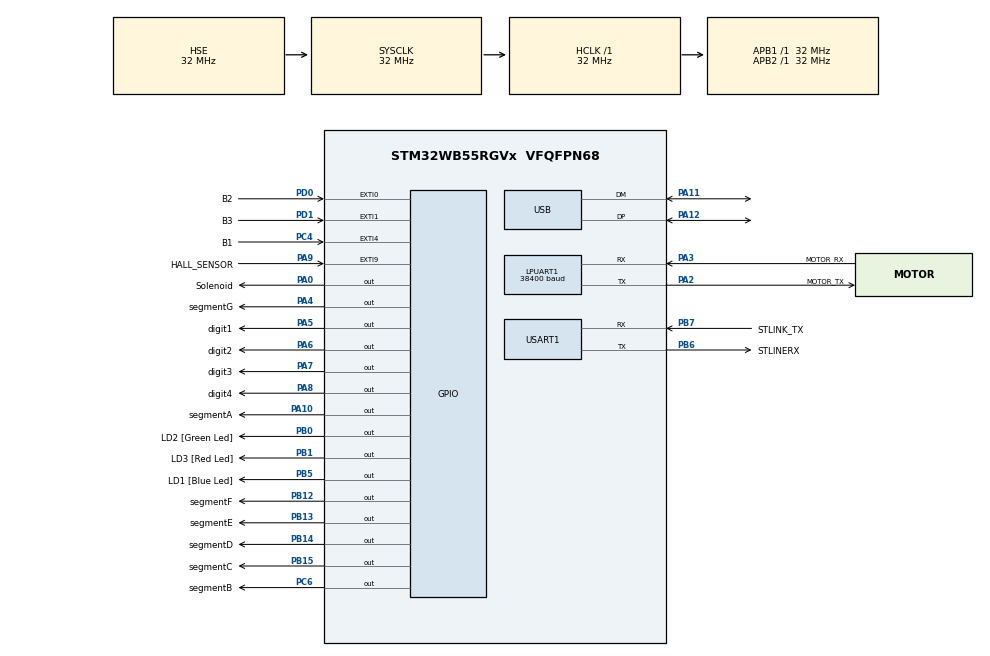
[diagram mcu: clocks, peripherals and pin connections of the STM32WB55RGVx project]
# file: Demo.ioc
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LPUART1.BaudRate=38400
Mcu.Family=STM32WB
Mcu.Name=STM32WB55RGVx
Mcu.Package=VFQFPN68
NVIC.EXTI0_IRQn=true\:2\:0\:true\:false\:true\:true\:true\:true
NVIC.EXTI1_IRQn=true\:2\:0\:true\:false\:true\:true\:true\:true
NVIC.EXTI4_IRQn=true\:2\:0\:true\:false\:true\:true\:true\:true
NVIC.EXTI9_5_IRQn=true\:1\:0\:true\:false\:true\:true\:true\:true
NVIC.PriorityGroup=NVIC_PRIORITYGROUP_4
OSC_IN.Mode=HSE-External-Oscillator
OSC_IN.Signal=RCC_OSC_IN
OSC_OUT.Mode=HSE-External-Oscillator
OSC_OUT.Signal=RCC_OSC_OUT
PA0.GPIO_Label=Solenoid
PA0.GPIO_PuPd=GPIO_PULLUP
PA0.Signal=GPIO_Output
PA10.GPIO_Label=segmentA
PA10.PinState=GPIO_PIN_SET
PA10.Signal=GPIO_Output
PA11.Mode=Device
PA11.Signal=USB_DM
PA12.Mode=Device
PA12.Signal=USB_DP
PA13.GPIO_Label=JTMS
PA13.Mode=Trace_Asynchronous_SW
PA13.Signal=SYS_JTMS-SWDIO
PA14.GPIO_Label=JTCK
PA14.Mode=Trace_Asynchronous_SW
PA14.Signal=SYS_JTCK-SWCLK
PA2.GPIO_Label=MOTOR_TX
PA2.GPIO_PuPd=GPIO_PULLUP
PA2.Mode=Asynchronous
PA2.Signal=LPUART1_TX
PA3.GPIO_Label=MOTOR_RX
PA3.GPIO_PuPd=GPIO_PULLUP
PA3.Mode=Asynchronous
PA3.Signal=LPUART1_RX
PA4.GPIO_Label=segmentG
PA4.PinState=GPIO_PIN_SET
PA4.Signal=GPIO_Output
PA5.GPIO_Label=digit1
PA5.Signal=GPIO_Output
PA6.GPIO_Label=digit2
PA6.PinState=GPIO_PIN_RESET
PA6.Signal=GPIO_Output
PA7.GPIO_Label=digit3
PA7.PinState=GPIO_PIN_RESET
PA7.Signal=GPIO_Output
PA8.GPIO_Label=digit4
PA8.Signal=GPIO_Output
PA9.GPIO_Label=HALL_SENSOR
PA9.GPIO_PuPd=GPIO_PULLUP
PA9.Signal=GPXTI9
PB0.GPIO_Label=LD2 [Green Led]
PB0.Signal=GPIO_Output
PB1.GPIO_Label=LD3 [Red Led]
PB1.Signal=GPIO_Output
PB12.GPIO_Label=segmentF
PB12.PinState=GPIO_PIN_SET
PB12.Signal=GPIO_Output
PB13.GPIO_Label=segmentE
PB13.PinState=GPIO_PIN_SET
PB13.Signal=GPIO_Output
PB14.GPIO_Label=segmentD
PB14.PinState=GPIO_PIN_SET
PB14.Signal=GPIO_Output
PB15.GPIO_Label=segmentC
PB15.PinState=GPIO_PIN_SET
PB15.Signal=GPIO_Output
PB3.GPIO_Label=JTDO
PB3.Mode=Trace_Asynchronous_SW
PB3.Signal=SYS_JTDO-SWO
PB5.GPIO_Label=LD1 [Blue Led]
PB5.Signal=GPIO_Output
PB6.GPIO_Label=STLINERX
PB6.GPIO_PuPd=GPIO_PULLUP
PB6.Mode=Asynchronous
PB6.Signal=USART1_TX
PB7.GPIO_Label=STLINK_TX
PB7.GPIO_PuPd=GPIO_PULLUP
PB7.Mode=Asynchronous
PB7.Signal=USART1_RX
PC13.Mode=SYS_WakeUp1
PC13.Signal=SYS_WKUP2
PC14-OSC32_IN.Mode=LSE-External-Oscillator
PC14-OSC32_IN.Signal=RCC_OSC32_IN
PC15-OSC32_OUT.Mode=LSE-External-Oscillator
PC15-OSC32_OUT.Signal=RCC_OSC32_OUT
PC4.GPIO_Label=B1
PC4.GPIO_PuPd=GPIO_PULLUP
PC4.Signal=GPXTI4
PC6.GPIO_Label=segmentB
PC6.PinState=GPIO_PIN_SET
PC6.Signal=GPIO_Output
PD0.GPIO_Label=B2
PD0.GPIO_PuPd=GPIO_PULLUP
PD0.Signal=GPXTI0
PD1.GPIO_Label=B3
PD1.GPIO_PuPd=GPIO_PULLUP
PD1.Signal=GPXTI1
ProjectManager.HeapSize=0x400
ProjectManager.StackSize=0x800
ProjectManager.TargetToolchain=STM32CubeIDE
RCC.ADCFreq_Value=48000000
RCC.AHBFreq_Value=32000000
RCC.APB1Freq_Value=32000000
RCC.APB1TimFreq_Value=32000000
RCC.APB2Freq_Value=32000000
RCC.APB2TimFreq_Value=32000000
RCC.APB3Freq_Value=16000000
RCC.CortexFreq_Value=32000000
RCC.HCLKFreq_Value=32000000
RCC.HSE_VALUE=32000000
RCC.HSI48_VALUE=48000000
RCC.HSI_VALUE=16000000
RCC.LSE_Drive_Capability=RCC_LSEDRIVE_LOW
RCC.PLLN=32
RCC.PLLSAI1N=24
RCC.SMPSCLockSelectionVirtual=RCC_SMPSCLKSOURCE_HSI
RCC.SMPSCLockSelectionVirtualVirtual=RCC_SMPSCLKSOURCE_HSI
RCC.SMPSDivider=1
RCC.SYSCLKFreq_VALUE=32000000
RCC.SYSCLKSource=RCC_SYSCLKSOURCE_HSE
RCC.USBFreq_Value=48000000
RCC.VCOOutputFreq_Value=128000000
USART1.VirtualMode-Asynchronous=VM_ASYNC
USART1.WordLength=WORDLENGTH_7B
VP_MEMORYMAP_VS_MEMORYMAP.Mode=CurAppReg
board=NUCLEO-WB55RG

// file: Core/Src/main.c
/* USER CODE BEGIN Header */
/**
  ******************************************************************************
  * @file           : main.c
  * @brief          : Main program body
  ******************************************************************************
  * @attention
  *
  * Copyright (c) 2024 STMicroelectronics.
  * All rights reserved.
  *
  * This software is licensed under terms that can be found in the LICENSE file
  * in the root directory of this software component.
  * If no LICENSE file comes with this software, it is provided AS-IS.
  *
  ******************************************************************************
  */
/* USER CODE END Header */
#include "main.h"

/* USER CODE BEGIN Includes */
#include "communication_utilities.h"
#include "utilities.h"
#include "state_commands.h"
#include "sevseg_display.h"
#include "solenoid.h"
/* USER CODE END Includes */

/* USER CODE BEGIN PD */
#define ARM_SPEED 250
#define ANAHEIM 0
/* USER CODE END PD */

UART_HandleTypeDef hlpuart1;
UART_HandleTypeDef huart1;

PCD_HandleTypeDef hpcd_USB_FS;

/* USER CODE BEGIN PV */
uint32_t state;
uint32_t state_changed;

uint32_t current_rpm = 0;
uint32_t hs_prev_tick = 0;

uint8_t ready_to_launch = 0;
uint8_t launched = 0;

/* USER CODE END PV */

void SystemClock_Config(void);
void PeriphCommonClock_Config(void);
static void MX_GPIO_Init(void);
static void MX_LPUART1_UART_Init(void);
static void MX_USART1_UART_Init(void);
static void MX_USB_PCD_Init(void);

int main(void)
{

  /* MCU Configuration--------------------------------------------------------*/

  /* Reset of all peripherals, Initializes the Flash interface and the Systick. */
  HAL_Init();

  /* Configure the system clock */
  SystemClock_Config();

/* Configure the peripherals common clocks */
  PeriphCommonClock_Config();

  /* Initialize all configured peripherals */
  MX_GPIO_Init();
  MX_LPUART1_UART_Init();
  MX_USART1_UART_Init();
  MX_USB_PCD_Init();
  /* USER CODE BEGIN 2 */
  state = 0;
  state_changed = 1;
  SevenSegment_Off();
  /* USER CODE END 2 */

  /* Infinite loop */
  /* USER CODE BEGIN WHILE */
  while (1)
  {
	  SevenSegment_UpdateAllDigits(current_rpm);

	  if (state == 0){

		  //nothing running, waiting for input
		  // NEW MOTOR: running big motor up until satisfied by pressing button
		  if (state_changed == 1)
		  {
			  state_changed = 0;
		  }

		  Blue_On();
		  Green_Off();
		  Red_Off();
	  }
	  else if (state == 1){
		  //start motor spinning
		  // NEW MOTOR: ready to launch, waiting for right position
		  if (state_changed == 1)
		  {
#if (ANAHEIM == 1)
				  Arm_Spin_State(ARM_SPEED);
#endif

			ready_to_launch = 1;
			state_changed = 0;
		  }

#if (ANAHEIM == 1)
		  if (Arm_Done_Spinning(ARM_SPEED) == 1)
		  {
			  state = 2;
			  state_changed = 1;
		  }
#else
		  if (launched == 1)
		  {
			  state = 2;
			  state_changed = 1;
		  }
#endif

		  Blue_Off();
		  Green_Off();
		  Red_On();
		  //HAL_Delay(100);
	  }
	  else if (state == 2){
		  //motor is up to speed
		  // NEW MOTOR: after launching, slowing down motor
		  if (state_changed == 1)
		  {
			  state_changed = 0;
		  }
#if (ANAHEIM == 0)
		  if (current_rpm < 5){
			  state = 3;
			  state_changed = 4;
		  }
#endif

		  Blue_Off();
		  Green_On();
		  Red_Off();
	  }
	  else if (state == 3){
		  //ready to launch, waiting for right position
		  // NEW MOTOR: motor stopped, disc launched, press button to restart
		  if (state_changed == 1)
		  {
			  state_changed = 0;
		  }

#if (ANAHEIM == 1)
		  if (Arm_Launched_In_Position(ARM_SPEED) == 1)
		  {
			  state = 4;
			  state_changed = 1;
		  }
#endif

		  Blue_Off();
		  Green_On();
		  Red_On();
	  }
	  else if (state == 4){
		  //after launching, slow motor
		  if (state_changed == 1)
		  {
			  Hard_Brake();
			  //Coast();
			  state_changed = 0;
		  }

		  if (Arm_Stopped() == 1)
		  {
			  state = 5;
			  state_changed = 1;
		  }

		  Blue_On();
		  Green_Off();
		  Red_Off();
	  }
	  else if (state == 5){
		  //motor stopped, disc launched
		  if (state_changed == 1)
		  {
			  state_changed = 0;
		  }

		  Blue_On();
		  Green_Off();
		  Red_On();
	  }
	  else if (state == 6){
		  // manually launch disc
		  if (state_changed == 1)
		  {
			  Launch_Disc_State(ARM_SPEED);
			  state = 4;
			  state_changed = 1;
			  //state_changed = 0;
		  }

		  Blue_On();
		  Green_On();
		  Red_Off();
	  }
	  else{
		  state = 0;
	  }
    /* USER CODE END WHILE */

  }
}

void SystemClock_Config(void)
{
  RCC_OscInitTypeDef RCC_OscInitStruct = {0};
  RCC_ClkInitTypeDef RCC_ClkInitStruct = {0};

  /** Macro to configure the PLL multiplication factor
  */
  __HAL_RCC_PLL_PLLM_CONFIG(RCC_PLLM_DIV1);

  /** Macro to configure the PLL clock source
  */
  __HAL_RCC_PLL_PLLSOURCE_CONFIG(RCC_PLLSOURCE_MSI);

  /** Configure LSE Drive Capability
  */
  HAL_PWR_EnableBkUpAccess();
  __HAL_RCC_LSEDRIVE_CONFIG(RCC_LSEDRIVE_LOW);

  /** Configure the main internal regulator output voltage
  */
  __HAL_PWR_VOLTAGESCALING_CONFIG(PWR_REGULATOR_VOLTAGE_SCALE1);

  /** Initializes the RCC Oscillators according to the specified parameters
  * in the RCC_OscInitTypeDef structure.
  */
  RCC_OscInitStruct.OscillatorType = RCC_OSCILLATORTYPE_HSI|RCC_OSCILLATORTYPE_HSE
                              |RCC_OSCILLATORTYPE_LSE|RCC_OSCILLATORTYPE_MSI;
  RCC_OscInitStruct.HSEState = RCC_HSE_ON;
  RCC_OscInitStruct.LSEState = RCC_LSE_ON;
  RCC_OscInitStruct.HSIState = RCC_HSI_ON;
  RCC_OscInitStruct.MSIState = RCC_MSI_ON;
  RCC_OscInitStruct.HSICalibrationValue = RCC_HSICALIBRATION_DEFAULT;
  RCC_OscInitStruct.MSICalibrationValue = RCC_MSICALIBRATION_DEFAULT;
  RCC_OscInitStruct.MSIClockRange = RCC_MSIRANGE_6;
  RCC_OscInitStruct.PLL.PLLState = RCC_PLL_NONE;
  if (HAL_RCC_OscConfig(&RCC_OscInitStruct) != HAL_OK)
  {
    Error_Handler();
  }

  /** Configure the SYSCLKSource, HCLK, PCLK1 and PCLK2 clocks dividers
  */
  RCC_ClkInitStruct.ClockType = RCC_CLOCKTYPE_HCLK4|RCC_CLOCKTYPE_HCLK2
                              |RCC_CLOCKTYPE_HCLK|RCC_CLOCKTYPE_SYSCLK
                              |RCC_CLOCKTYPE_PCLK1|RCC_CLOCKTYPE_PCLK2;
  RCC_ClkInitStruct.SYSCLKSource = RCC_SYSCLKSOURCE_HSE;
  RCC_ClkInitStruct.AHBCLKDivider = RCC_SYSCLK_DIV1;
  RCC_ClkInitStruct.APB1CLKDivider = RCC_HCLK_DIV1;
  RCC_ClkInitStruct.APB2CLKDivider = RCC_HCLK_DIV1;
  RCC_ClkInitStruct.AHBCLK2Divider = RCC_SYSCLK_DIV1;
  RCC_ClkInitStruct.AHBCLK4Divider = RCC_SYSCLK_DIV1;

  if (HAL_RCC_ClockConfig(&RCC_ClkInitStruct, FLASH_LATENCY_1) != HAL_OK)
  {
    Error_Handler();
  }

  /** Enable MSI Auto calibration
  */
  HAL_RCCEx_EnableMSIPLLMode();
}

void PeriphCommonClock_Config(void)
{
  RCC_PeriphCLKInitTypeDef PeriphClkInitStruct = {0};

  /** Initializes the peripherals clock
  */
  PeriphClkInitStruct.PeriphClockSelection = RCC_PERIPHCLK_SMPS;
  PeriphClkInitStruct.SmpsClockSelection = RCC_SMPSCLKSOURCE_HSI;
  PeriphClkInitStruct.SmpsDivSelection = RCC_SMPSCLKDIV_RANGE0;

  if (HAL_RCCEx_PeriphCLKConfig(&PeriphClkInitStruct) != HAL_OK)
  {
    Error_Handler();
  }
}

static void MX_LPUART1_UART_Init(void)
{

  hlpuart1.Instance = LPUART1;
  hlpuart1.Init.BaudRate = 38400;
  hlpuart1.Init.WordLength = UART_WORDLENGTH_8B;
  hlpuart1.Init.StopBits = UART_STOPBITS_1;
  hlpuart1.Init.Parity = UART_PARITY_NONE;
  hlpuart1.Init.Mode = UART_MODE_TX_RX;
  hlpuart1.Init.HwFlowCtl = UART_HWCONTROL_NONE;
  hlpuart1.Init.OneBitSampling = UART_ONE_BIT_SAMPLE_DISABLE;
  hlpuart1.Init.ClockPrescaler = UART_PRESCALER_DIV1;
  hlpuart1.AdvancedInit.AdvFeatureInit = UART_ADVFEATURE_NO_INIT;
  hlpuart1.FifoMode = UART_FIFOMODE_DISABLE;
  if (HAL_UART_Init(&hlpuart1) != HAL_OK)
  {
    Error_Handler();
  }
  if (HAL_UARTEx_SetTxFifoThreshold(&hlpuart1, UART_TXFIFO_THRESHOLD_1_8) != HAL_OK)
  {
    Error_Handler();
  }
  if (HAL_UARTEx_SetRxFifoThreshold(&hlpuart1, UART_RXFIFO_THRESHOLD_1_8) != HAL_OK)
  {
    Error_Handler();
  }
  if (HAL_UARTEx_DisableFifoMode(&hlpuart1) != HAL_OK)
  {
    Error_Handler();
  }

}

static void MX_USART1_UART_Init(void)
{

  huart1.Instance = USART1;
  huart1.Init.BaudRate = 115200;
  huart1.Init.WordLength = UART_WORDLENGTH_7B;
  huart1.Init.StopBits = UART_STOPBITS_1;
  huart1.Init.Parity = UART_PARITY_NONE;
  huart1.Init.Mode = UART_MODE_TX_RX;
  huart1.Init.HwFlowCtl = UART_HWCONTROL_NONE;
  huart1.Init.OverSampling = UART_OVERSAMPLING_16;
  huart1.Init.OneBitSampling = UART_ONE_BIT_SAMPLE_DISABLE;
  huart1.Init.ClockPrescaler = UART_PRESCALER_DIV1;
  huart1.AdvancedInit.AdvFeatureInit = UART_ADVFEATURE_NO_INIT;
  if (HAL_UART_Init(&huart1) != HAL_OK)
  {
    Error_Handler();
  }
  if (HAL_UARTEx_SetTxFifoThreshold(&huart1, UART_TXFIFO_THRESHOLD_1_8) != HAL_OK)
  {
    Error_Handler();
  }
  if (HAL_UARTEx_SetRxFifoThreshold(&huart1, UART_RXFIFO_THRESHOLD_1_8) != HAL_OK)
  {
    Error_Handler();
  }
  if (HAL_UARTEx_DisableFifoMode(&huart1) != HAL_OK)
  {
    Error_Handler();
  }

}

static void MX_USB_PCD_Init(void)
{

  hpcd_USB_FS.Instance = USB;
  hpcd_USB_FS.Init.dev_endpoints = 8;
  hpcd_USB_FS.Init.speed = PCD_SPEED_FULL;
  hpcd_USB_FS.Init.phy_itface = PCD_PHY_EMBEDDED;
  hpcd_USB_FS.Init.Sof_enable = DISABLE;
  hpcd_USB_FS.Init.low_power_enable = DISABLE;
  hpcd_USB_FS.Init.lpm_enable = DISABLE;
  hpcd_USB_FS.Init.battery_charging_enable = DISABLE;
  if (HAL_PCD_Init(&hpcd_USB_FS) != HAL_OK)
  {
    Error_Handler();
  }

}

static void MX_GPIO_Init(void)
{
  GPIO_InitTypeDef GPIO_InitStruct = {0};

  /* GPIO Ports Clock Enable */
  __HAL_RCC_GPIOC_CLK_ENABLE();
  __HAL_RCC_GPIOA_CLK_ENABLE();
  __HAL_RCC_GPIOB_CLK_ENABLE();
  __HAL_RCC_GPIOD_CLK_ENABLE();

  /*Configure GPIO pin Output Level */
  HAL_GPIO_WritePin(GPIOA, Solenoid_Pin|digit1_Pin|digit2_Pin|digit3_Pin
                          |digit4_Pin, GPIO_PIN_RESET);

  /*Configure GPIO pin Output Level */
  HAL_GPIO_WritePin(GPIOA, segmentG_Pin|segmentA_Pin, GPIO_PIN_SET);

  /*Configure GPIO pin Output Level */
  HAL_GPIO_WritePin(GPIOB, LD2_Pin|LD3_Pin|LD1_Pin, GPIO_PIN_RESET);

  /*Configure GPIO pin Output Level */
  HAL_GPIO_WritePin(GPIOB, segmentF_Pin|segmentE_Pin|segmentD_Pin|segmentC_Pin, GPIO_PIN_SET);

  /*Configure GPIO pin Output Level */
  HAL_GPIO_WritePin(segmentB_GPIO_Port, segmentB_Pin, GPIO_PIN_SET);

  /*Configure GPIO pin : Solenoid_Pin */
  GPIO_InitStruct.Pin = Solenoid_Pin;
  GPIO_InitStruct.Mode = GPIO_MODE_OUTPUT_PP;
  GPIO_InitStruct.Pull = GPIO_PULLUP;
  GPIO_InitStruct.Speed = GPIO_SPEED_FREQ_LOW;
  HAL_GPIO_Init(Solenoid_GPIO_Port, &GPIO_InitStruct);

  /*Configure GPIO pins : segmentG_Pin digit1_Pin digit2_Pin digit3_Pin
                           digit4_Pin segmentA_Pin */
  GPIO_InitStruct.Pin = segmentG_Pin|digit1_Pin|digit2_Pin|digit3_Pin
                          |digit4_Pin|segmentA_Pin;
  GPIO_InitStruct.Mode = GPIO_MODE_OUTPUT_PP;
  GPIO_InitStruct.Pull = GPIO_NOPULL;
  GPIO_InitStruct.Speed = GPIO_SPEED_FREQ_LOW;
  HAL_GPIO_Init(GPIOA, &GPIO_InitStruct);

  /*Configure GPIO pin : HALL_SENSOR_Pin */
  GPIO_InitStruct.Pin = HALL_SENSOR_Pin;
  GPIO_InitStruct.Mode = GPIO_MODE_IT_RISING;
  GPIO_InitStruct.Pull = GPIO_PULLUP;
  HAL_GPIO_Init(HALL_SENSOR_GPIO_Port, &GPIO_InitStruct);

  /*Configure GPIO pin : B1_Pin */
  GPIO_InitStruct.Pin = B1_Pin;
  GPIO_InitStruct.Mode = GPIO_MODE_IT_RISING;
  GPIO_InitStruct.Pull = GPIO_PULLUP;
  HAL_GPIO_Init(B1_GPIO_Port, &GPIO_InitStruct);

  /*Configure GPIO pins : LD2_Pin LD3_Pin segmentF_Pin segmentE_Pin
                           segmentD_Pin segmentC_Pin LD1_Pin */
  GPIO_InitStruct.Pin = LD2_Pin|LD3_Pin|segmentF_Pin|segmentE_Pin
                          |segmentD_Pin|segmentC_Pin|LD1_Pin;
  GPIO_InitStruct.Mode = GPIO_MODE_OUTPUT_PP;
  GPIO_InitStruct.Pull = GPIO_NOPULL;
  GPIO_InitStruct.Speed = GPIO_SPEED_FREQ_LOW;
  HAL_GPIO_Init(GPIOB, &GPIO_InitStruct);

  /*Configure GPIO pin : segmentB_Pin */
  GPIO_InitStruct.Pin = segmentB_Pin;
  GPIO_InitStruct.Mode = GPIO_MODE_OUTPUT_PP;
  GPIO_InitStruct.Pull = GPIO_NOPULL;
  GPIO_InitStruct.Speed = GPIO_SPEED_FREQ_LOW;
  HAL_GPIO_Init(segmentB_GPIO_Port, &GPIO_InitStruct);

  /*Configure GPIO pins : B2_Pin B3_Pin */
  GPIO_InitStruct.Pin = B2_Pin|B3_Pin;
  GPIO_InitStruct.Mode = GPIO_MODE_IT_RISING;
  GPIO_InitStruct.Pull = GPIO_PULLUP;
  HAL_GPIO_Init(GPIOD, &GPIO_InitStruct);

  /* EXTI interrupt init*/
  HAL_NVIC_SetPriority(EXTI0_IRQn, 2, 0);
  HAL_NVIC_EnableIRQ(EXTI0_IRQn);

  HAL_NVIC_SetPriority(EXTI1_IRQn, 2, 0);
  HAL_NVIC_EnableIRQ(EXTI1_IRQn);

  HAL_NVIC_SetPriority(EXTI4_IRQn, 2, 0);
  HAL_NVIC_EnableIRQ(EXTI4_IRQn);

  HAL_NVIC_SetPriority(EXTI9_5_IRQn, 1, 0);
  HAL_NVIC_EnableIRQ(EXTI9_5_IRQn);

}

/* USER CODE BEGIN 4 */
void B1_Pressed()
{
#if (ANAHEIM == 1)
	if (state == 0)
	{
		state = 1;
		state_changed = 1;
	}
	else if (state == 2)
	{
		state = 3;
		state_changed = 1;
	}
	else if (state == 5)
	{
		state = 0;
		state_changed = 1;
	}
#else
	if (state == 0){
		state = 1;
		state_changed = 1;
	}
	else if (state == 3){
		state = 0;
		state_changed = 1;
	}
#endif
}

void B2_Pressed()
{
	if(state == 3)
	{
		//state = 6;
		//state_changed = 1;
		/*
		Blue_Off();
		Red_Off();
		Green_Off();
		Launch_Disc_State(ARM_SPEED);
		state = 4;
		state_changed = 1;
		*/
	}
}

void B3_Pressed()
{
#if (ANAHEIM == 1)
	state = 4;
	state_changed = 1;
#endif
}

void Motor_Transmit(char tx_buff[], uint8_t size)
{
	HAL_UART_Transmit(&hlpuart1, (uint8_t*)tx_buff, size, 10);
	//HAL_UART_Transmit(&huart1, (uint8_t*)tx_buff, size, 10);
}

HAL_StatusTypeDef Motor_Receive(uint8_t rx_buff[])
{
	//return HAL_UART_Receive(&hlpuart1, rx_buff, size, 10);
	//return HAL_UART_Receive(&huart1, rx_buff, size, 10);

	uint8_t rx_char[1];
	uint8_t i = 0;
	HAL_StatusTypeDef status = HAL_UART_Receive(&hlpuart1, rx_char, 1, 10000);
	if (status != HAL_OK)
	{
		return 0;
	}
	rx_buff[i] = rx_char[0];
	i++;
	while (rx_char[0] != '\r')
	{
		status = HAL_UART_Receive(&hlpuart1, rx_char, 1, 10000);
		if (status != HAL_OK)
		{
			return 0;
		}
		rx_buff[i] = rx_char[0];
		i++;
	}
	return i;
}

void HAL_GPIO_EXTI_Callback(uint16_t GPIO_PIN)
{
	if (GPIO_PIN == HALL_SENSOR_Pin){
		uint32_t curr_tick = HAL_GetTick();
		uint32_t time_since_last = 0;
		if (curr_tick > hs_prev_tick){
			time_since_last = curr_tick - hs_prev_tick;
		}
		current_rpm = (uint32_t)(1.0 / time_since_last * 60.0 * 1000.0);
		hs_prev_tick = curr_tick;

		if (ready_to_launch == 1){
			ready_to_launch = 0;
			HAL_Delay(1000.0 / (current_rpm / 60.0) / 4.0);
			Solenoid_Up();
			HAL_Delay(1.0/current_rpm*60.0*1000.0); //wait for full revolution to confirm launched
			Solenoid_Down();
			launched = 1;
		}

	}
	else if(GPIO_PIN == B1_Pin){B1_Pressed();}
	else if(GPIO_PIN == B2_Pin){B2_Pressed();}
	else if(GPIO_PIN == B3_Pin){B3_Pressed();}
}

/* USER CODE END 4 */

void Error_Handler(void)
{
  __disable_irq();
  while (1)
  {
  }
}
